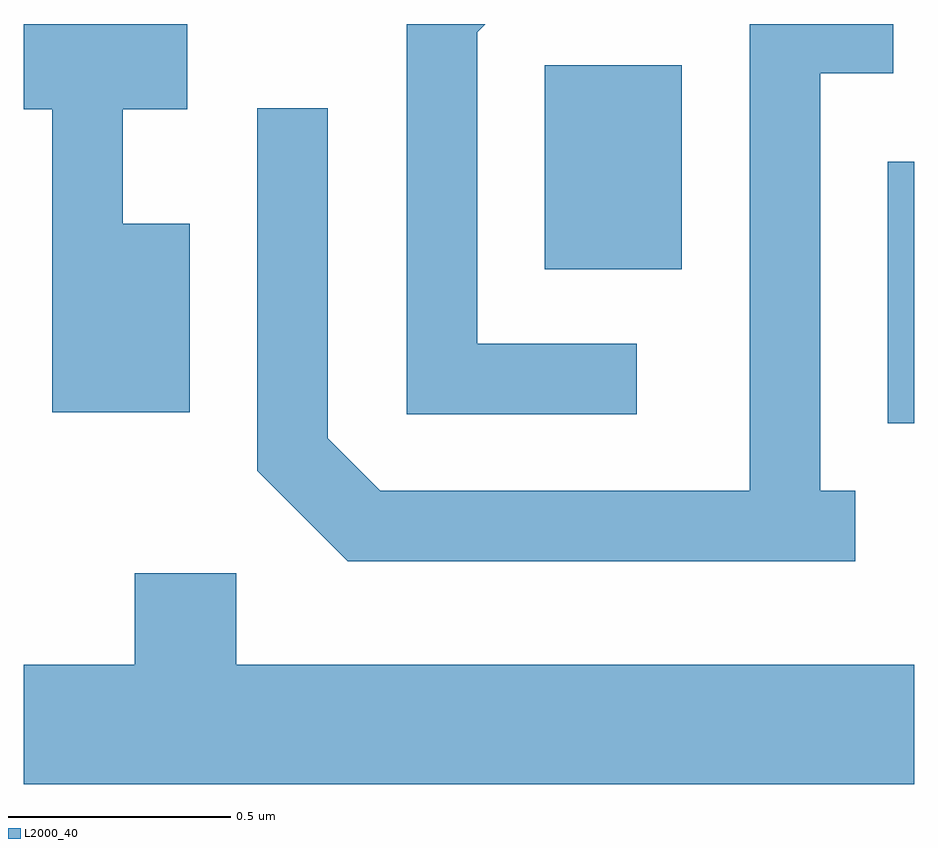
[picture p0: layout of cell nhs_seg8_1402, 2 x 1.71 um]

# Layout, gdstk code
import gdstk
lib = gdstk.Library(unit=1e-6, precision=1e-09)
def R(c, l, rs):  # rectangles x0, y0, x1, y1
    for r in rs: c.add(gdstk.rectangle(r[:2], r[2:], *l))
def P(c, l, *ps):  # polygons
    for p in ps: c.add(gdstk.Polygon(p, *l))
L2000_40 = (2000, 40)

nhs_seg8_1402 = lib.new_cell('nhs_seg8_1402')
R(nhs_seg8_1402, L2000_40, [(197.551,1839.446,197.611,1840.033), (196.781,1839.791,197.089,1840.249)])
P(nhs_seg8_1402, L2000_40, [(195.984,1839.894),(195.834,1839.894),(195.834,1840.151),(195.979,1840.151),(195.979,1840.342),(195.611,1840.342),(195.611,1840.151),(195.676,1840.151),(195.676,1839.471),(195.984,1839.471)],
  [(197.478,1839.294),(197.399,1839.294),(197.399,1840.231),(197.563,1840.231),(197.563,1840.342),(197.241,1840.342),(197.241,1839.294),(196.412,1839.294),(196.294,1839.412),(196.294,1840.153),(196.136,1840.153),(196.136,1839.339),(196.339,1839.136),(197.478,1839.136)],
  [(196.988,1839.624),(196.629,1839.624),(196.629,1840.324),(196.647,1840.342),(196.471,1840.342),(196.471,1839.466),(196.988,1839.466)],
  [(197.611,1838.904),(196.089,1838.904),(196.089,1839.109),(195.861,1839.109),(195.861,1838.904),(195.611,1838.904),(195.611,1838.636),(197.611,1838.636)])

lib.write_gds('nhs_seg8_1402.gds')
